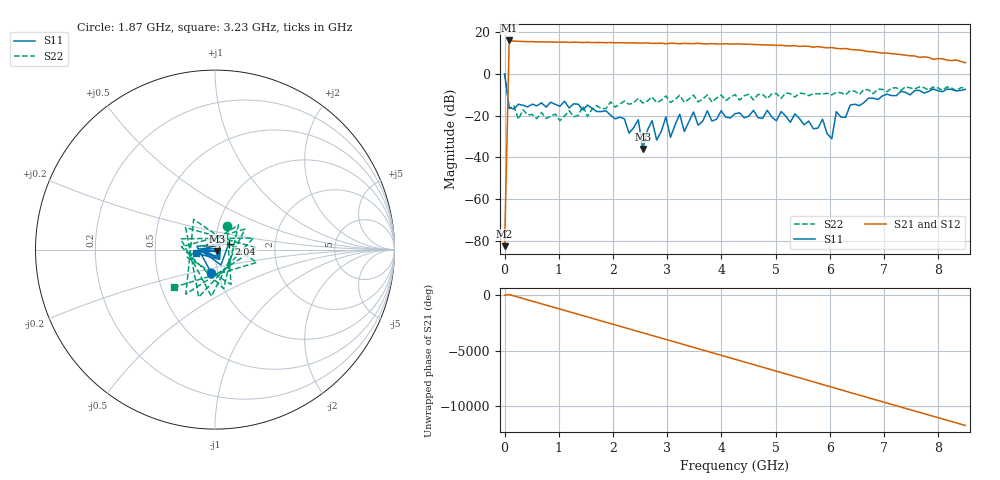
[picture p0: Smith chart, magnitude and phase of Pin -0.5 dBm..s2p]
! RsaToolbox (C) 2013 Rohde & Schwarz America
! Number of points: 101
! Number of ports: 2
! Balanced ports?: 0
# Hz S RI R 50
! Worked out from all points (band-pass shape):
!   101 points, 9 kHz to 8.5 GHz, reference 50 ohm
!   highest |S21| = 15.99 dB at 85.01 MHz (marker M1); lowest = -82.5 dB at 9 kHz (marker M2)
!   |S21| within 3 dB of the highest: 82.42 MHz to 5.649 GHz (5.566 GHz wide, 194 % of centre); 5.757 GHz to 5.8 GHz (42.47 MHz wide, 0.735 % of centre)
!   lowest |S11| = -35.9 dB at 2.55 GHz (marker M3), VSWR 1.03, Z = 51.3 - j0.977 ohm
!   |S11| at or under -10 dB: 52.33 MHz to 7.025 GHz (6.972 GHz wide, 197 % of centre); 7.091 GHz to 7.243 GHz (151.2 MHz wide, 2.11 % of centre); 7.475377 GHz to 7.482725 GHz (7.348 MHz wide, 0.0983 % of centre)
!   |S22| runs from -22.4 to 0.1 dB; largest |S21 - S12| = 0
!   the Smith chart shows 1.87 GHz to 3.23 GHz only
!   S11 on the Smith chart (normalised r, x): 1.87 GHz: 0.93, -0.24; 2.04 GHz: 1.16, +0.08; 3.23 GHz: 0.81, -0.03
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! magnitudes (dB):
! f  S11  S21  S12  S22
! 9 kHz  0.0  -82.5  -82.5  0.1
! 85.01 MHz  -16.3  16.0  16.0  -16.6
! 1.445 GHz  -17.3  15.0  15.0  -15.3
! 1.87 GHz  -17.7  14.9  14.9  -16.6
! 2.04 GHz  -21.5  14.9  14.9  -15.9
! 2.465 GHz  -22.0  14.7  14.7  -11.7
! 2.55 GHz  -35.9  14.7  14.7  -14.0
! 2.72 GHz  -22.4  14.6  14.6  -11.1
! 2.805 GHz  -31.7  14.6  14.6  -13.8
! 2.89 GHz  -27.6  14.7  14.7  -12.7
! 2.975 GHz  -20.6  14.4  14.4  -10.6
! 3.06 GHz  -30.4  14.7  14.7  -13.7
! 3.23 GHz  -19.3  14.4  14.4  -10.2
! 3.315 GHz  -27.6  14.6  14.6  -13.6
! 3.485 GHz  -18.3  14.4  14.4  -10.2
! 4.25 GHz  -19.1  14.3  14.3  -9.9
! 5.695 GHz  -26.2  12.8  12.8  -9.5
! 5.865 GHz  -21.7  12.7  12.7  -9.6
! 6.035 GHz  -31.0  12.6  12.6  -10.1
! 6.12 GHz  -18.1  12.2  12.2  -8.8
! 7.14 GHz  -10.4  9.7  9.7  -6.8
! 8.5 GHz  -7.4  5.3  5.3  -6.7
